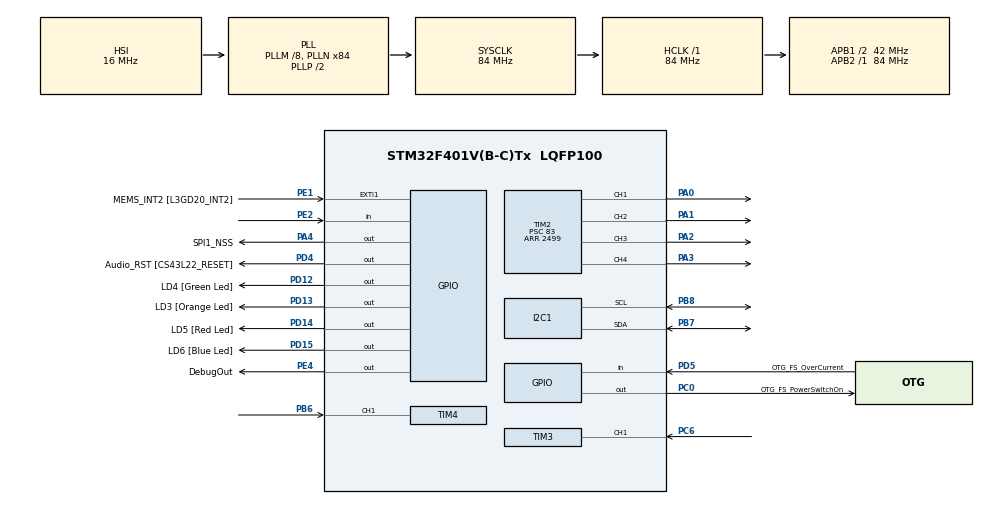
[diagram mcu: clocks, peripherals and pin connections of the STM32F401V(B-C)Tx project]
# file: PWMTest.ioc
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I2C1.I2C_Mode=I2C_Fast
Mcu.Family=STM32F4
Mcu.Name=STM32F401V(B-C)Tx
Mcu.Package=LQFP100
NVIC.PriorityGroup=NVIC_PRIORITYGROUP_0
NVIC.TIM3_IRQn=true\:0\:0\:false\:false\:true\:true\:true
NVIC.TIM4_IRQn=true\:0\:0\:false\:false\:true\:true\:true
PA0-WKUP.GPIO_PuPd=GPIO_NOPULL
PA0-WKUP.GPIO_Speed=GPIO_SPEED_FREQ_LOW
PA0-WKUP.Signal=S_TIM2_CH1_ETR
PA1.GPIO_PuPd=GPIO_NOPULL
PA1.GPIO_Speed=GPIO_SPEED_FREQ_LOW
PA1.Signal=S_TIM2_CH2
PA13.Mode=Serial_Wire
PA13.Signal=SYS_JTMS-SWDIO
PA14.Mode=Serial_Wire
PA14.Signal=SYS_JTCK-SWCLK
PA2.GPIO_PuPd=GPIO_NOPULL
PA2.GPIO_Speed=GPIO_SPEED_FREQ_LOW
PA2.Signal=S_TIM2_CH3
PA3.GPIO_PuPd=GPIO_NOPULL
PA3.GPIO_Speed=GPIO_SPEED_FREQ_LOW
PA3.Signal=S_TIM2_CH4
PA4.GPIO_Label=SPI1_NSS
PA4.GPIO_Speed=GPIO_SPEED_FREQ_HIGH
PA4.PinState=GPIO_PIN_SET
PA4.Signal=GPIO_Output
PB6.Signal=S_TIM4_CH1
PB7.Mode=I2C
PB7.Signal=I2C1_SDA
PB8.Mode=I2C
PB8.Signal=I2C1_SCL
PC0.GPIO_Label=OTG_FS_PowerSwitchOn
PC0.PinState=GPIO_PIN_SET
PC0.Signal=GPIO_Output
PC14-OSC32_IN.Mode=LSE-External-Oscillator
PC14-OSC32_IN.Signal=RCC_OSC32_IN
PC15-OSC32_OUT.Mode=LSE-External-Oscillator
PC15-OSC32_OUT.Signal=RCC_OSC32_OUT
PC6.Signal=S_TIM3_CH1
PD12.GPIO_Label=LD4 [Green Led]
PD12.GPIO_PuPd=GPIO_NOPULL
PD12.GPIO_Speed=GPIO_SPEED_FREQ_LOW
PD12.Signal=GPIO_Output
PD13.GPIO_Label=LD3 [Orange Led]
PD13.GPIO_PuPd=GPIO_NOPULL
PD13.GPIO_Speed=GPIO_SPEED_FREQ_LOW
PD13.Signal=GPIO_Output
PD14.GPIO_Label=LD5 [Red Led]
PD14.GPIO_PuPd=GPIO_NOPULL
PD14.GPIO_Speed=GPIO_SPEED_FREQ_LOW
PD14.Signal=GPIO_Output
PD15.GPIO_Label=LD6 [Blue Led]
PD15.GPIO_PuPd=GPIO_NOPULL
PD15.GPIO_Speed=GPIO_SPEED_FREQ_LOW
PD15.Signal=GPIO_Output
PD4.GPIO_Label=Audio_RST [CS43L22_RESET]
PD4.Signal=GPIO_Output
PD5.GPIO_Label=OTG_FS_OverCurrent
PD5.Signal=GPIO_Input
PE1.GPIO_Label=MEMS_INT2 [L3GD20_INT2]
PE1.GPIO_ModeDefaultEXTI=GPIO_MODE_EVT_RISING
PE1.Signal=GPXTI1
PE2.Signal=GPIO_Input
PE4.GPIO_Label=DebugOut
PE4.Signal=GPIO_Output
PH0\ -\ OSC_IN.Mode=HSE-External-Oscillator
PH0\ -\ OSC_IN.Signal=RCC_OSC_IN
PH1\ -\ OSC_OUT.Mode=HSE-External-Oscillator
PH1\ -\ OSC_OUT.Signal=RCC_OSC_OUT
ProjectManager.HeapSize=0x200
ProjectManager.StackSize=0x400
ProjectManager.TargetToolchain=TrueSTUDIO
RCC.48MHZClocksFreq_Value=24000000
RCC.AHBFreq_Value=84000000
RCC.APB1CLKDivider=RCC_HCLK_DIV2
RCC.APB1Freq_Value=42000000
RCC.APB1TimFreq_Value=84000000
RCC.APB2Freq_Value=84000000
RCC.APB2TimFreq_Value=84000000
RCC.CortexFreq_Value=84000000
RCC.HCLKFreq_Value=84000000
RCC.HSE_VALUE=8000000
RCC.HSI_VALUE=16000000
RCC.PLLM=8
RCC.PLLN=84
RCC.PLLQ=7
RCC.SYSCLKFreq_VALUE=84000000
RCC.SYSCLKSource=RCC_SYSCLKSOURCE_PLLCLK
RCC.VCOOutputFreq_Value=168000000
SH.S_TIM2_CH1_ETR.0=TIM2_CH1,PWM Generation1 CH1
SH.S_TIM2_CH2.0=TIM2_CH2,PWM Generation2 CH2
SH.S_TIM2_CH3.0=TIM2_CH3,PWM Generation3 CH3
SH.S_TIM2_CH4.0=TIM2_CH4,PWM Generation4 CH4
SH.S_TIM3_CH1.0=TIM3_CH1,Input_Capture1_from_TI1
SH.S_TIM3_CH1.1=TIM3_CH1,Input_Capture2_from_TI1
SH.S_TIM4_CH1.0=TIM4_CH1,Input_Capture1_from_TI1
SH.S_TIM4_CH1.1=TIM4_CH1,Input_Capture2_from_TI1
TIM2.Channel-PWM\ Generation1\ CH1=TIM_CHANNEL_1
TIM2.Channel-PWM\ Generation2\ CH2=TIM_CHANNEL_2
TIM2.Channel-PWM\ Generation3\ CH3=TIM_CHANNEL_3
TIM2.Channel-PWM\ Generation4\ CH4=TIM_CHANNEL_4
TIM2.Period=2499
TIM2.Prescaler=83
TIM2.Pulse-PWM\ Generation1\ CH1=1000
TIM2.Pulse-PWM\ Generation2\ CH2=1000
TIM2.Pulse-PWM\ Generation3\ CH3=1000
TIM2.Pulse-PWM\ Generation4\ CH4=1000
TIM3.Channel-Input_Capture1_from_TI1=TIM_CHANNEL_1
TIM3.Channel-Input_Capture2_from_TI1=TIM_CHANNEL_2
TIM3.ICPolarity_CH2=TIM_INPUTCHANNELPOLARITY_FALLING
TIM3.Period=64999
TIM3.Prescaler=83
TIM4.Channel-Input_Capture1_from_TI1=TIM_CHANNEL_1
TIM4.Channel-Input_Capture2_from_TI1=TIM_CHANNEL_2
TIM4.ICPolarity_CH2=TIM_INPUTCHANNELPOLARITY_FALLING
TIM4.Period=64999
TIM4.Prescaler=83
TIM5.Period=64999
TIM5.Prescaler=83
TIM9.Period=64999
TIM9.Prescaler=83
VP_TIM2_VS_ClockSourceINT.Mode=Internal
VP_TIM5_VS_ClockSourceINT.Mode=Internal
VP_TIM9_VS_ClockSourceINT.Mode=Internal
board=STM32F401C-DISCO

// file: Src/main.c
/* USER CODE BEGIN Header */
/**
  ******************************************************************************
  * @file           : main.c
  * @brief          : Main program body
  ******************************************************************************
  * @attention
  *
  * <h2><center>&copy; Copyright (c) 2019 STMicroelectronics.
  * All rights reserved.</center></h2>
  *
  * This software component is licensed by ST under BSD 3-Clause license,
  * the "License"; You may not use this file except in compliance with the
  * License. You may obtain a copy of the License at:
  *                        opensource.org/licenses/BSD-3-Clause
  *
  ******************************************************************************
  */
/* USER CODE END Header */

#include "main.h"

/* USER CODE BEGIN Includes */
//#include "MPU9250.h"
#include "PIDController.h"
#include "sd_hal_MPU9250.h"
#include "bmp280.h"
/* USER CODE END Includes */

I2C_HandleTypeDef hi2c1;

TIM_HandleTypeDef htim2;
TIM_HandleTypeDef htim3;
TIM_HandleTypeDef htim4;
TIM_HandleTypeDef htim5;
TIM_HandleTypeDef htim9;

/* USER CODE BEGIN PV */
uint8_t  rc_switch3 = SWITCH_OFF;
uint8_t  rc_switch4 = SWITCH_OFF;

PIDProp PIDPros[3];
uint32_t throttle = 1000;
uint32_t yaw = 1500;;
uint32_t pitch = 1500;;
uint32_t roll = 1500;

float time_elapsed = 0;

uint16_t last_throttle = 0;
float failsafe_timestamp;

float Roll_Kp, Pitch_Kp, Yaw_Kp;

float debug_yaw, debug_roll, debug_pitch;

float altitude;

anglePoints aPoints;

float outputs[3];
int pulse_esc1 = 1000;
int pulse_esc2 = 1000;
int pulse_esc3 = 1000;
int pulse_esc4 = 1000;

States currentState = STATE_LAUNCHING;

BMP280_HandleTypedef bmp280;
BMP280_Results bmp_res;
/* USER CODE END PV */

void SystemClock_Config(void);
static void MX_GPIO_Init(void);
static void MX_TIM3_Init(void);
static void MX_TIM4_Init(void);
static void MX_TIM2_Init(void);
static void MX_I2C1_Init(void);
static void MX_TIM5_Init(void);
static void MX_TIM9_Init(void);
/* USER CODE BEGIN PFP */
float yawErrorFunc(float a, float b);
/* USER CODE END PFP */

/* USER CODE BEGIN 0 */

void HAL_TIM_IC_CaptureCallback(TIM_HandleTypeDef *htim)
{

	if(htim->Instance == TIM3)
	{
		if(htim->Channel == HAL_TIM_ACTIVE_CHANNEL_1)
		{
			if (HAL_TIM_ReadCapturedValue(&htim3, TIM_CHANNEL_1) < 5000) rc_switch3 = SWITCH_ON;
				else rc_switch3 = SWITCH_OFF;
			__HAL_TIM_SET_COUNTER(&htim3, 0x0000);
		}
		else if(htim->Channel == HAL_TIM_ACTIVE_CHANNEL_2)
		{
			if (rc_switch3 == SWITCH_OFF) {
				yaw = (float)HAL_TIM_ReadCapturedValue(&htim3, TIM_CHANNEL_2);
			} else {
				throttle = (float)HAL_TIM_ReadCapturedValue(&htim3, TIM_CHANNEL_2);
			}
		}
	}

	if(htim->Instance == TIM4)
	{
		if(htim->Channel == HAL_TIM_ACTIVE_CHANNEL_1)
		{
			if (HAL_TIM_ReadCapturedValue(&htim4, TIM_CHANNEL_1) < 5000) rc_switch4 = SWITCH_ON;
				else rc_switch4 = SWITCH_OFF;
			__HAL_TIM_SET_COUNTER(&htim4, 0x0000);
		}
		else if(htim->Channel == HAL_TIM_ACTIVE_CHANNEL_2)
		{
			if (rc_switch4 == SWITCH_OFF) {
				pitch = (float)HAL_TIM_ReadCapturedValue(&htim4, TIM_CHANNEL_2);
			} else {
				roll = (float)HAL_TIM_ReadCapturedValue(&htim4, TIM_CHANNEL_2);
			}
		}
	}

}

int initAll() {
	/*
	// MPU
	uint8_t a = initMPU(&hspi1);
	if (0 == a) {
		printf("Failed code %#x \n", a);
		return -1;
	}
	printf("IMU code %#x \n", a);
	HAL_Delay(10);
	//calibrateMpu9250();
	*/

	MPU9250SetConnection(&hi2c1, SD_Device_0);

	float SelfTest[6];
	MPU9250SelfTest(&SelfTest); // Start by performing self test and reporting values
#if DEBUG == 1
	printf("x-axis self test: acceleration trim within : %f% of factory value \n", SelfTest[0]);
	printf("y-axis self test: acceleration trim within : %f% of factory value \n", SelfTest[1]);
	printf("z-axis self test: acceleration trim within : %f% of factory value \n", SelfTest[2]);
	printf("x-axis self test: gyration trim within : %f% of factory value \n", SelfTest[3]);
	printf("y-axis self test: gyration trim within : %f% of factory value \n", SelfTest[4]);
	printf("z-axis self test: gyration trim within : %f% of factory value \n", SelfTest[5]);
#endif
	HAL_Delay(10);

	if(SelfTest[0] < 1.0f && SelfTest[1] < 1.0f && SelfTest[2] < 1.0f && SelfTest[3] < 1.0f && SelfTest[4] < 1.0f && SelfTest[5] < 1.0f)
	{
		resetMPU9250();
		//calibrateMPU9250();
		SD_MPUInit(SD_Accelerometer_4G, SD_Gyroscope_500s);
		initAK8963();
#if DEBUG == 1
		printf("MPU9250 initialized for active data mode....\n");
#endif

		HAL_Delay(20);
    }
	else
	{
		while (1) {
			HAL_GPIO_WritePin(LD5_GPIO_Port, LD5_Pin, GPIO_PIN_SET);
			HAL_Delay(200);
		}
#if DEBUG == 1
		printf("Device did not the pass self-test!\n");
#endif
	}

	HAL_Delay(100);
	// BMP280
	bmp280_init_default_params(&bmp280.params);
	bmp280.params.oversampling_pressure = BMP280_ULTRA_HIGH_RES;
	bmp280.params.oversampling_temperature = BMP280_LOW_POWER;
	bmp280.params.standby = BMP280_STANDBY_05;
	bmp280.params.filter = BMP280_FILTER_16;
	bmp280.addr = BMP280_I2C_ADDRESS_0;
	bmp280.i2c = &hi2c1;

	while (!bmp280_init(&bmp280, &bmp280.params)) {
#if DEBUG == 1
		printf("BMP280 didn't initialized\n");
#endif
		HAL_GPIO_WritePin(LD5_GPIO_Port, LD5_Pin, GPIO_PIN_SET);
		HAL_Delay(200);
	}

#if DEBUG == 1
	printf("BMP280 WHO AM I: %#x Should be 0x58\n", bmp280.id);
#endif

	// Regulators
	InitPID(&PIDPros[YAW], 6.0f, 0.0f, 0.0f, 400.0f, -400.0f);
	InitPID(&PIDPros[ROLL], 3.5f, 3.5f, 0.1f, 400.0f, -400.0f);
	InitPID(&PIDPros[PITCH], 3.5f, 3.5f, 0.1f, 400.0f, -400.0f);
	Roll_Kp = 2.0f;
	Pitch_Kp = 2.0f;
	Yaw_Kp = 1.0f;
#if DEBUG == 1
	printf("PID[ROLL] P I d %f %f %f \n", PIDPros[ROLL].Kp, PIDPros[ROLL].Ki, PIDPros[ROLL].Kd);
#endif

	// Input timers
	HAL_TIM_IC_Start_IT(&htim3, TIM_CHANNEL_1); // throttle and yaw
    HAL_TIM_IC_Start_IT(&htim3, TIM_CHANNEL_2);
    HAL_TIM_IC_Start_IT(&htim4, TIM_CHANNEL_1);	// roll and pitch
    HAL_TIM_IC_Start_IT(&htim4, TIM_CHANNEL_2);

    // Output times
    HAL_TIM_PWM_Start(&htim2, TIM_CHANNEL_1);
    HAL_TIM_PWM_Start(&htim2, TIM_CHANNEL_2);
    HAL_TIM_PWM_Start(&htim2, TIM_CHANNEL_3);
    HAL_TIM_PWM_Start(&htim2, TIM_CHANNEL_4);

    if (currentState == STATE_CALIBRATING) {
    	TIM2->CCR1 = 2000;
		TIM2->CCR2 = 2000;
		TIM2->CCR3 = 2000;
		TIM2->CCR4 = 2000;
    } else {
    	TIM2->CCR1 = 1000;
		TIM2->CCR2 = 1000;
		TIM2->CCR3 = 1000;
		TIM2->CCR4 = 1000;
    }

    HAL_Delay(500);
    gyroCalibration();
    //accelCalibrationEx();
    accelCalibration();
	return 0;
}

void resetState() {
	TIM2->CCR1 = 1000;
	TIM2->CCR2 = 1000;
	TIM2->CCR3 = 1000;
	TIM2->CCR4 = 1000;

	aPoints.yaw = imuGetPtr()->yaw;
	aPoints.roll = 0;
	aPoints.pitch = 0;

	resetController(&PIDPros[YAW]);
	resetController(&PIDPros[ROLL]);
	resetController(&PIDPros[PITCH]);
}

void calcInputValues() {

	//pitch += 30;
	//roll += 10;

	if (pitch > PITCH_UPPER_TRESHOLD ) {
		aPoints.pitch = (pitch - PITCH_UPPER_TRESHOLD) / MAX_PITCH_INPUT * MAX_PITCH_POINT;
	} else if (pitch < PITCH_BOTTOM_TRESHOLD) {
		aPoints.pitch = (pitch - PITCH_BOTTOM_TRESHOLD) / MAX_PITCH_INPUT * MAX_PITCH_POINT;
	} else {
		aPoints.pitch = 0.0f;
	}

	//aPoints.pitch -= 10.0f;

	if (roll > ROLL_UPPER_TRESHOLD ) {
		aPoints.roll = -(roll - ROLL_UPPER_TRESHOLD) / MAX_ROLL_INPUT * MAX_ROLL_POINT;
	} else if (roll < ROLL_BOTTOM_TRESHOLD) {
		aPoints.roll = -(roll - ROLL_BOTTOM_TRESHOLD) / MAX_ROLL_INPUT * MAX_ROLL_POINT;
	} else {
		aPoints.roll = 0.0f;
	}

	//aPoints.roll -= 5.0f;

	/*
	if (yaw > YAW_UPPER_TRESHOLD ) {
		aPoints.yaw = -(yaw - YAW_UPPER_TRESHOLD) / MAX_YAW_INPUT * MAX_YAW_POINT;
	} else if (yaw < YAW_BOTTOM_TRESHOLD) {
		aPoints.yaw = -(yaw - YAW_BOTTOM_TRESHOLD) / MAX_YAW_INPUT * MAX_YAW_POINT;
	} else {
		aPoints.yaw = 0.0f;
	}
	*/

	float temp = 0;
	if (yaw > YAW_UPPER_TRESHOLD ) {
		temp = -(yaw - YAW_UPPER_TRESHOLD) / MAX_YAW_INPUT * MAX_YAW_POINT / 9000.0f;
	} else if (yaw < YAW_BOTTOM_TRESHOLD) {
		temp = -(yaw - YAW_BOTTOM_TRESHOLD) / MAX_YAW_INPUT * MAX_YAW_POINT / 9000.0f;
	} else {
		temp = 0.0f;
	}

	aPoints.yaw += temp;
	if (aPoints.yaw >= 180) {
		aPoints.yaw = aPoints.yaw - 360.0f;
	}
	if (aPoints.yaw < -180) {
		aPoints.yaw = aPoints.yaw + 360.0f;
	}

}

void checkState() {
	if (throttle > 1000 && throttle < 1100) { // THROTTLE
		if (roll > 1750)
		{
			resetState();
			currentState = STATE_ON;
			setPoint(&PIDPros[YAW], imuData.yaw);
			changeLEDState();
		}
		if (roll < 1250)
		{
			resetState();
			currentState = STATE_OFF;
			changeLEDState();
		}
	}

	if (currentState == STATE_LAUNCHING) {
		if (throttle > 1700 & roll > 1800) {
			resetState();
			currentState = STATE_CALIBRATING;
			changeLEDState();
		}
	}

	// falisafe implementation placeholder
	if (last_throttle != throttle || currentState != STATE_ON) {
		last_throttle = throttle;
		failsafe_timestamp = HAL_GetTick();
	} else {
		if (HAL_GetTick() - failsafe_timestamp > FAILSAFE_TRESHOLD) {
			resetState();
			currentState = STATE_OFF;
			changeLEDState();
		}
	}
}

void changeLEDState() {
	HAL_GPIO_WritePin(LD4_GPIO_Port, LD4_Pin, GPIO_PIN_RESET); // GREEN
	HAL_GPIO_WritePin(LD3_GPIO_Port, LD3_Pin, GPIO_PIN_RESET); // ORANGE
	HAL_GPIO_WritePin(LD5_GPIO_Port, LD5_Pin, GPIO_PIN_RESET); // RED
	HAL_GPIO_WritePin(LD6_GPIO_Port, LD6_Pin, GPIO_PIN_RESET); // BLUE

	if (currentState == STATE_LAUNCHING) {
		HAL_GPIO_WritePin(LD3_GPIO_Port, LD3_Pin, GPIO_PIN_SET);
	}

	if (currentState == STATE_CALIBRATING) {
		HAL_GPIO_WritePin(LD3_GPIO_Port, LD3_Pin, GPIO_PIN_SET);
		HAL_GPIO_WritePin(LD6_GPIO_Port, LD6_Pin, GPIO_PIN_SET);
	}

	if (currentState == STATE_OFF) {
		HAL_GPIO_WritePin(LD5_GPIO_Port, LD5_Pin, GPIO_PIN_SET);
	}

	if (currentState == STATE_ON) {
		HAL_GPIO_WritePin(LD4_GPIO_Port, LD4_Pin, GPIO_PIN_SET);
	}
}

void calibrate() {
	  while (currentState == STATE_CALIBRATING) {
		  if (throttle > 1500) {
			  TIM2->CCR1 = 2000;
			  TIM2->CCR2 = 2000;
			  TIM2->CCR3 = 2000;
			  TIM2->CCR4 = 2000;
		  }
		  if (throttle < 1500) {
			  TIM2->CCR1 = 1000;
			  TIM2->CCR2 = 1000;
			  TIM2->CCR3 = 1000;
			  TIM2->CCR4 = 1000;
		  }

		  checkState();
	  }
}

void static inline readAllData() {
	// Get gyro and magnet meters
	  if (readByte(INT_STATUS)) {
		  MPU9250_TakeAndCalcData((float)TIM9->CNT/ 1000000.0f);
		  TIM9->CNT = 0;
	  }
	  MPU9250_CalcYPR();

	  // Get BMP280 data
	  if (!bmp280_is_measuring(&bmp280)) {
		  bmp280_read_float_ex(&bmp280, &bmp_res);
		  altitude = 44330 * (1.0 - pow((bmp_res.pressure / 100) / 1013.25, 0.1903));
	  }
}

/* USER CODE END 0 */

int main(void)
{

  /* MCU Configuration--------------------------------------------------------*/

  /* Reset of all peripherals, Initializes the Flash interface and the Systick. */
  HAL_Init();

  /* Configure the system clock */
  SystemClock_Config();

  /* Initialize all configured peripherals */
  MX_GPIO_Init();
  MX_TIM3_Init();
  MX_TIM4_Init();
  MX_TIM2_Init();
  MX_I2C1_Init();
  MX_TIM5_Init();
  MX_TIM9_Init();
  /* USER CODE BEGIN 2 */
  // Try to init while no errors ocured
  while(initAll() != 0) {HAL_Delay(100);};		// This must be first!!!!
  changeLEDState();

#if DEBUG == 1
  printf("All initialized\n");
#endif
  /* USER CODE END 2 */

  /* Infinite loop */
  /* USER CODE BEGIN WHILE */
  //magcalMPU9250();

  HAL_TIM_Base_Init(&htim9);
HAL_TIM_Base_Start(&htim9);

  while (currentState == STATE_LAUNCHING) {
	  checkState();
	  readAllData();
  }

  if (currentState == STATE_CALIBRATING) calibrate();

  while (1)
  {
	  // Calculate regulator output next step
	  readAllData();

	  if (currentState == STATE_OFF) {
		  checkState();
	  } else if (currentState == STATE_ON) {
		  calcInputValues();

		  if (throttle < 1500) {
			  dropISum(&PIDPros[PITCH]);
			  dropISum(&PIDPros[ROLL]);
		  }

		  // Set target points
		  setPoint(&PIDPros[YAW], -Yaw_Kp * yawErrorFunc(aPoints.yaw, imuGetPtr()->yaw));
		  setPoint(&PIDPros[ROLL], -Roll_Kp * (aPoints.roll  - imuGetPtr()->roll));
		  setPoint(&PIDPros[PITCH], -Pitch_Kp * (aPoints.pitch - imuGetPtr()->pitch));

		  time_elapsed = (float)TIM5->CNT/ 1000000.0f;

		  TIM5->CNT = 0;

		  outputs[YAW] = calc(&PIDPros[YAW], gz_out, time_elapsed);
		  outputs[ROLL] = calc(&PIDPros[ROLL], gy_out, time_elapsed);
		  outputs[PITCH] = calc(&PIDPros[PITCH], -gx_out, time_elapsed);

		  //debug_roll = outputs[ROLL];
		  //debug_pitch = outputs[PITCH];
		  //debug_yaw = outputs[YAW];

		  if (throttle > 1080) {
			  // Sum output pulses
			  pulse_esc1 = throttle + outputs[ROLL] - outputs[PITCH] - outputs[YAW];
			  pulse_esc2 = throttle + outputs[ROLL] + outputs[PITCH] + outputs[YAW];
			  pulse_esc3 = throttle - outputs[ROLL] + outputs[PITCH] - outputs[YAW];
			  pulse_esc4 = throttle - outputs[ROLL] - outputs[PITCH] + outputs[YAW];

			  // Check output values
			  if (pulse_esc1 > MAX_PULSE_OUTPUT) pulse_esc1 = MAX_PULSE_OUTPUT;
			  if (pulse_esc1 < MIN_PULSE_OUTPUT) pulse_esc1 = MIN_PULSE_OUTPUT;
			  if (pulse_esc2 > MAX_PULSE_OUTPUT) pulse_esc2 = MAX_PULSE_OUTPUT;
			  if (pulse_esc2 < MIN_PULSE_OUTPUT) pulse_esc2 = MIN_PULSE_OUTPUT;
			  if (pulse_esc3 > MAX_PULSE_OUTPUT) pulse_esc3 = MAX_PULSE_OUTPUT;
			  if (pulse_esc3 < MIN_PULSE_OUTPUT) pulse_esc3 = MIN_PULSE_OUTPUT;
			  if (pulse_esc4 > MAX_PULSE_OUTPUT) pulse_esc4 = MAX_PULSE_OUTPUT;
			  if (pulse_esc4 < MIN_PULSE_OUTPUT) pulse_esc4 = MIN_PULSE_OUTPUT;

			  TIM2->CCR1 = pulse_esc1;
			  TIM2->CCR2 = pulse_esc2;
			  TIM2->CCR3 = pulse_esc3;
			  TIM2->CCR4 = pulse_esc4;
		  } else {
			  TIM2->CCR1 = 1000;
			  TIM2->CCR2 = 1000;
			  TIM2->CCR3 = 1000;
			  TIM2->CCR4 = 1000;
		  }

		  checkState();

	  }

    /* USER CODE END WHILE */

  }
}

void SystemClock_Config(void)
{
  RCC_OscInitTypeDef RCC_OscInitStruct = {0};
  RCC_ClkInitTypeDef RCC_ClkInitStruct = {0};

  /** Configure the main internal regulator output voltage
  */
  __HAL_RCC_PWR_CLK_ENABLE();
  __HAL_PWR_VOLTAGESCALING_CONFIG(PWR_REGULATOR_VOLTAGE_SCALE2);
  /** Initializes the CPU, AHB and APB busses clocks
  */
  RCC_OscInitStruct.OscillatorType = RCC_OSCILLATORTYPE_HSI;
  RCC_OscInitStruct.HSIState = RCC_HSI_ON;
  RCC_OscInitStruct.HSICalibrationValue = RCC_HSICALIBRATION_DEFAULT;
  RCC_OscInitStruct.PLL.PLLState = RCC_PLL_ON;
  RCC_OscInitStruct.PLL.PLLSource = RCC_PLLSOURCE_HSI;
  RCC_OscInitStruct.PLL.PLLM = 8;
  RCC_OscInitStruct.PLL.PLLN = 84;
  RCC_OscInitStruct.PLL.PLLP = RCC_PLLP_DIV2;
  RCC_OscInitStruct.PLL.PLLQ = 7;
  if (HAL_RCC_OscConfig(&RCC_OscInitStruct) != HAL_OK)
  {
    Error_Handler();
  }
  /** Initializes the CPU, AHB and APB busses clocks
  */
  RCC_ClkInitStruct.ClockType = RCC_CLOCKTYPE_HCLK|RCC_CLOCKTYPE_SYSCLK
                              |RCC_CLOCKTYPE_PCLK1|RCC_CLOCKTYPE_PCLK2;
  RCC_ClkInitStruct.SYSCLKSource = RCC_SYSCLKSOURCE_PLLCLK;
  RCC_ClkInitStruct.AHBCLKDivider = RCC_SYSCLK_DIV1;
  RCC_ClkInitStruct.APB1CLKDivider = RCC_HCLK_DIV2;
  RCC_ClkInitStruct.APB2CLKDivider = RCC_HCLK_DIV1;

  if (HAL_RCC_ClockConfig(&RCC_ClkInitStruct, FLASH_LATENCY_2) != HAL_OK)
  {
    Error_Handler();
  }
}

static void MX_I2C1_Init(void)
{

  hi2c1.Instance = I2C1;
  hi2c1.Init.ClockSpeed = 400000;
  hi2c1.Init.DutyCycle = I2C_DUTYCYCLE_2;
  hi2c1.Init.OwnAddress1 = 0;
  hi2c1.Init.AddressingMode = I2C_ADDRESSINGMODE_7BIT;
  hi2c1.Init.DualAddressMode = I2C_DUALADDRESS_DISABLE;
  hi2c1.Init.OwnAddress2 = 0;
  hi2c1.Init.GeneralCallMode = I2C_GENERALCALL_DISABLE;
  hi2c1.Init.NoStretchMode = I2C_NOSTRETCH_DISABLE;
  if (HAL_I2C_Init(&hi2c1) != HAL_OK)
  {
    Error_Handler();
  }

}

static void MX_TIM2_Init(void)
{

  TIM_ClockConfigTypeDef sClockSourceConfig = {0};
  TIM_MasterConfigTypeDef sMasterConfig = {0};
  TIM_OC_InitTypeDef sConfigOC = {0};

  htim2.Instance = TIM2;
  htim2.Init.Prescaler = 83;
  htim2.Init.CounterMode = TIM_COUNTERMODE_UP;
  htim2.Init.Period = 2499;
  htim2.Init.ClockDivision = TIM_CLOCKDIVISION_DIV1;
  htim2.Init.AutoReloadPreload = TIM_AUTORELOAD_PRELOAD_DISABLE;
  if (HAL_TIM_Base_Init(&htim2) != HAL_OK)
  {
    Error_Handler();
  }
  sClockSourceConfig.ClockSource = TIM_CLOCKSOURCE_INTERNAL;
  if (HAL_TIM_ConfigClockSource(&htim2, &sClockSourceConfig) != HAL_OK)
  {
    Error_Handler();
  }
  if (HAL_TIM_PWM_Init(&htim2) != HAL_OK)
  {
    Error_Handler();
  }
  sMasterConfig.MasterOutputTrigger = TIM_TRGO_RESET;
  sMasterConfig.MasterSlaveMode = TIM_MASTERSLAVEMODE_DISABLE;
  if (HAL_TIMEx_MasterConfigSynchronization(&htim2, &sMasterConfig) != HAL_OK)
  {
    Error_Handler();
  }
  sConfigOC.OCMode = TIM_OCMODE_PWM1;
  sConfigOC.Pulse = 1000;
  sConfigOC.OCPolarity = TIM_OCPOLARITY_HIGH;
  sConfigOC.OCFastMode = TIM_OCFAST_DISABLE;
  if (HAL_TIM_PWM_ConfigChannel(&htim2, &sConfigOC, TIM_CHANNEL_1) != HAL_OK)
  {
    Error_Handler();
  }
  if (HAL_TIM_PWM_ConfigChannel(&htim2, &sConfigOC, TIM_CHANNEL_2) != HAL_OK)
  {
    Error_Handler();
  }
  if (HAL_TIM_PWM_ConfigChannel(&htim2, &sConfigOC, TIM_CHANNEL_3) != HAL_OK)
  {
    Error_Handler();
  }
  if (HAL_TIM_PWM_ConfigChannel(&htim2, &sConfigOC, TIM_CHANNEL_4) != HAL_OK)
  {
    Error_Handler();
  }
  HAL_TIM_MspPostInit(&htim2);

}

static void MX_TIM3_Init(void)
{

  TIM_MasterConfigTypeDef sMasterConfig = {0};
  TIM_IC_InitTypeDef sConfigIC = {0};

  htim3.Instance = TIM3;
  htim3.Init.Prescaler = 83;
  htim3.Init.CounterMode = TIM_COUNTERMODE_UP;
  htim3.Init.Period = 64999;
  htim3.Init.ClockDivision = TIM_CLOCKDIVISION_DIV1;
  htim3.Init.AutoReloadPreload = TIM_AUTORELOAD_PRELOAD_DISABLE;
  if (HAL_TIM_IC_Init(&htim3) != HAL_OK)
  {
    Error_Handler();
  }
  sMasterConfig.MasterOutputTrigger = TIM_TRGO_RESET;
  sMasterConfig.MasterSlaveMode = TIM_MASTERSLAVEMODE_DISABLE;
  if (HAL_TIMEx_MasterConfigSynchronization(&htim3, &sMasterConfig) != HAL_OK)
  {
    Error_Handler();
  }
  sConfigIC.ICPolarity = TIM_INPUTCHANNELPOLARITY_RISING;
  sConfigIC.ICSelection = TIM_ICSELECTION_DIRECTTI;
  sConfigIC.ICPrescaler = TIM_ICPSC_DIV1;
  sConfigIC.ICFilter = 0;
  if (HAL_TIM_IC_ConfigChannel(&htim3, &sConfigIC, TIM_CHANNEL_1) != HAL_OK)
  {
    Error_Handler();
  }
  sConfigIC.ICPolarity = TIM_INPUTCHANNELPOLARITY_FALLING;
  sConfigIC.ICSelection = TIM_ICSELECTION_INDIRECTTI;
  if (HAL_TIM_IC_ConfigChannel(&htim3, &sConfigIC, TIM_CHANNEL_2) != HAL_OK)
  {
    Error_Handler();
  }

}

static void MX_TIM4_Init(void)
{

  TIM_MasterConfigTypeDef sMasterConfig = {0};
  TIM_IC_InitTypeDef sConfigIC = {0};

  htim4.Instance = TIM4;
  htim4.Init.Prescaler = 83;
  htim4.Init.CounterMode = TIM_COUNTERMODE_UP;
  htim4.Init.Period = 64999;
  htim4.Init.ClockDivision = TIM_CLOCKDIVISION_DIV1;
  htim4.Init.AutoReloadPreload = TIM_AUTORELOAD_PRELOAD_DISABLE;
  if (HAL_TIM_IC_Init(&htim4) != HAL_OK)
  {
    Error_Handler();
  }
  sMasterConfig.MasterOutputTrigger = TIM_TRGO_RESET;
  sMasterConfig.MasterSlaveMode = TIM_MASTERSLAVEMODE_DISABLE;
  if (HAL_TIMEx_MasterConfigSynchronization(&htim4, &sMasterConfig) != HAL_OK)
  {
    Error_Handler();
  }
  sConfigIC.ICPolarity = TIM_INPUTCHANNELPOLARITY_RISING;
  sConfigIC.ICSelection = TIM_ICSELECTION_DIRECTTI;
  sConfigIC.ICPrescaler = TIM_ICPSC_DIV1;
  sConfigIC.ICFilter = 0;
  if (HAL_TIM_IC_ConfigChannel(&htim4, &sConfigIC, TIM_CHANNEL_1) != HAL_OK)
  {
    Error_Handler();
  }
  sConfigIC.ICPolarity = TIM_INPUTCHANNELPOLARITY_FALLING;
  sConfigIC.ICSelection = TIM_ICSELECTION_INDIRECTTI;
  if (HAL_TIM_IC_ConfigChannel(&htim4, &sConfigIC, TIM_CHANNEL_2) != HAL_OK)
  {
    Error_Handler();
  }

}

static void MX_TIM5_Init(void)
{

  TIM_ClockConfigTypeDef sClockSourceConfig = {0};
  TIM_MasterConfigTypeDef sMasterConfig = {0};

  htim5.Instance = TIM5;
  htim5.Init.Prescaler = 83;
  htim5.Init.CounterMode = TIM_COUNTERMODE_UP;
  htim5.Init.Period = 64999;
  htim5.Init.ClockDivision = TIM_CLOCKDIVISION_DIV1;
  htim5.Init.AutoReloadPreload = TIM_AUTORELOAD_PRELOAD_DISABLE;
  if (HAL_TIM_Base_Init(&htim5) != HAL_OK)
  {
    Error_Handler();
  }
  sClockSourceConfig.ClockSource = TIM_CLOCKSOURCE_INTERNAL;
  if (HAL_TIM_ConfigClockSource(&htim5, &sClockSourceConfig) != HAL_OK)
  {
    Error_Handler();
  }
  sMasterConfig.MasterOutputTrigger = TIM_TRGO_RESET;
  sMasterConfig.MasterSlaveMode = TIM_MASTERSLAVEMODE_DISABLE;
  if (HAL_TIMEx_MasterConfigSynchronization(&htim5, &sMasterConfig) != HAL_OK)
  {
    Error_Handler();
  }
  /* USER CODE BEGIN TIM5_Init 2 */
  HAL_TIM_Base_Init(&htim5);
  HAL_TIM_Base_Start(&htim5);
  /* USER CODE END TIM5_Init 2 */

}

static void MX_TIM9_Init(void)
{

  TIM_ClockConfigTypeDef sClockSourceConfig = {0};

  htim9.Instance = TIM9;
  htim9.Init.Prescaler = 83;
  htim9.Init.CounterMode = TIM_COUNTERMODE_UP;
  htim9.Init.Period = 64999;
  htim9.Init.ClockDivision = TIM_CLOCKDIVISION_DIV1;
  htim9.Init.AutoReloadPreload = TIM_AUTORELOAD_PRELOAD_DISABLE;
  if (HAL_TIM_Base_Init(&htim9) != HAL_OK)
  {
    Error_Handler();
  }
  sClockSourceConfig.ClockSource = TIM_CLOCKSOURCE_INTERNAL;
  if (HAL_TIM_ConfigClockSource(&htim9, &sClockSourceConfig) != HAL_OK)
  {
    Error_Handler();
  }

}

static void MX_GPIO_Init(void)
{
  GPIO_InitTypeDef GPIO_InitStruct = {0};

  /* GPIO Ports Clock Enable */
  __HAL_RCC_GPIOE_CLK_ENABLE();
  __HAL_RCC_GPIOC_CLK_ENABLE();
  __HAL_RCC_GPIOH_CLK_ENABLE();
  __HAL_RCC_GPIOA_CLK_ENABLE();
  __HAL_RCC_GPIOD_CLK_ENABLE();
  __HAL_RCC_GPIOB_CLK_ENABLE();

  /*Configure GPIO pin Output Level */
  HAL_GPIO_WritePin(DebugOut_GPIO_Port, DebugOut_Pin, GPIO_PIN_RESET);

  /*Configure GPIO pin Output Level */
  HAL_GPIO_WritePin(OTG_FS_PowerSwitchOn_GPIO_Port, OTG_FS_PowerSwitchOn_Pin, GPIO_PIN_SET);

  /*Configure GPIO pin Output Level */
  HAL_GPIO_WritePin(SPI1_NSS_GPIO_Port, SPI1_NSS_Pin, GPIO_PIN_SET);

  /*Configure GPIO pin Output Level */
  HAL_GPIO_WritePin(GPIOD, LD4_Pin|LD3_Pin|LD5_Pin|LD6_Pin
                          |Audio_RST_Pin, GPIO_PIN_RESET);

  /*Configure GPIO pin : PE2 */
  GPIO_InitStruct.Pin = GPIO_PIN_2;
  GPIO_InitStruct.Mode = GPIO_MODE_INPUT;
  GPIO_InitStruct.Pull = GPIO_NOPULL;
  HAL_GPIO_Init(GPIOE, &GPIO_InitStruct);

  /*Configure GPIO pin : DebugOut_Pin */
  GPIO_InitStruct.Pin = DebugOut_Pin;
  GPIO_InitStruct.Mode = GPIO_MODE_OUTPUT_PP;
  GPIO_InitStruct.Pull = GPIO_NOPULL;
  GPIO_InitStruct.Speed = GPIO_SPEED_FREQ_LOW;
  HAL_GPIO_Init(DebugOut_GPIO_Port, &GPIO_InitStruct);

  /*Configure GPIO pin : OTG_FS_PowerSwitchOn_Pin */
  GPIO_InitStruct.Pin = OTG_FS_PowerSwitchOn_Pin;
  GPIO_InitStruct.Mode = GPIO_MODE_OUTPUT_PP;
  GPIO_InitStruct.Pull = GPIO_NOPULL;
  GPIO_InitStruct.Speed = GPIO_SPEED_FREQ_LOW;
  HAL_GPIO_Init(OTG_FS_PowerSwitchOn_GPIO_Port, &GPIO_InitStruct);

  /*Configure GPIO pin : SPI1_NSS_Pin */
  GPIO_InitStruct.Pin = SPI1_NSS_Pin;
  GPIO_InitStruct.Mode = GPIO_MODE_OUTPUT_PP;
  GPIO_InitStruct.Pull = GPIO_NOPULL;
  GPIO_InitStruct.Speed = GPIO_SPEED_FREQ_HIGH;
  HAL_GPIO_Init(SPI1_NSS_GPIO_Port, &GPIO_InitStruct);

  /*Configure GPIO pins : LD4_Pin LD3_Pin LD5_Pin LD6_Pin
                           Audio_RST_Pin */
  GPIO_InitStruct.Pin = LD4_Pin|LD3_Pin|LD5_Pin|LD6_Pin
                          |Audio_RST_Pin;
  GPIO_InitStruct.Mode = GPIO_MODE_OUTPUT_PP;
  GPIO_InitStruct.Pull = GPIO_NOPULL;
  GPIO_InitStruct.Speed = GPIO_SPEED_FREQ_LOW;
  HAL_GPIO_Init(GPIOD, &GPIO_InitStruct);

  /*Configure GPIO pin : OTG_FS_OverCurrent_Pin */
  GPIO_InitStruct.Pin = OTG_FS_OverCurrent_Pin;
  GPIO_InitStruct.Mode = GPIO_MODE_INPUT;
  GPIO_InitStruct.Pull = GPIO_NOPULL;
  HAL_GPIO_Init(OTG_FS_OverCurrent_GPIO_Port, &GPIO_InitStruct);

  /*Configure GPIO pin : MEMS_INT2_Pin */
  GPIO_InitStruct.Pin = MEMS_INT2_Pin;
  GPIO_InitStruct.Mode = GPIO_MODE_EVT_RISING;
  GPIO_InitStruct.Pull = GPIO_NOPULL;
  HAL_GPIO_Init(MEMS_INT2_GPIO_Port, &GPIO_InitStruct);

}

/* USER CODE BEGIN 4 */
float yawErrorFunc(float a, float b) {
	float temp = (a - b);
	if (temp <= 180.0f && temp >= -180.0f) return temp;
	else {
		if (temp > 0) return (temp - 360.0f);
		else return (360.0f + temp);
	}
}

/* USER CODE END 4 */

void Error_Handler(void)
{
}

/************************ (C) COPYRIGHT STMicroelectronics *****END OF FILE****/
